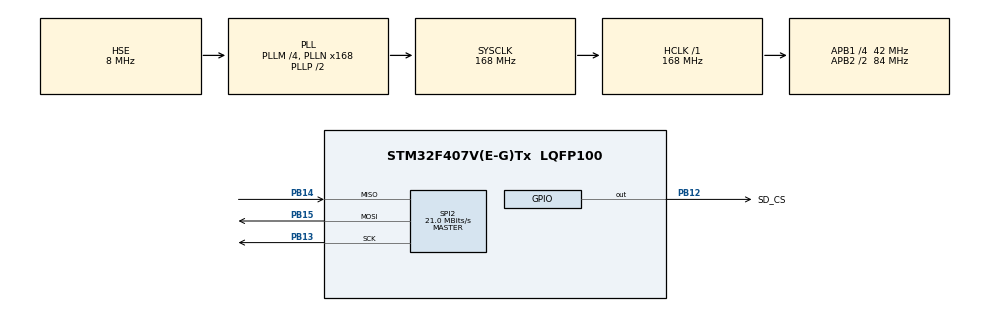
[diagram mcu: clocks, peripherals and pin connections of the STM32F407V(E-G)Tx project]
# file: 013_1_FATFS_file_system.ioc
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Mcu.Family=STM32F4
Mcu.Name=STM32F407V(E-G)Tx
Mcu.Package=LQFP100
NVIC.PriorityGroup=NVIC_PRIORITYGROUP_4
PB12.GPIO_Label=SD_CS
PB12.Signal=GPIO_Output
PB13.Mode=Full_Duplex_Master
PB13.Signal=SPI2_SCK
PB14.Mode=Full_Duplex_Master
PB14.Signal=SPI2_MISO
PB15.Mode=Full_Duplex_Master
PB15.Signal=SPI2_MOSI
PH0-OSC_IN.Mode=HSE-External-Oscillator
PH0-OSC_IN.Signal=RCC_OSC_IN
PH1-OSC_OUT.Mode=HSE-External-Oscillator
PH1-OSC_OUT.Signal=RCC_OSC_OUT
ProjectManager.HeapSize=0x200
ProjectManager.StackSize=0x400
ProjectManager.TargetToolchain=STM32CubeIDE
RCC.48MHZClocksFreq_Value=84000000
RCC.AHBFreq_Value=168000000
RCC.APB1CLKDivider=RCC_HCLK_DIV4
RCC.APB1Freq_Value=42000000
RCC.APB1TimFreq_Value=84000000
RCC.APB2CLKDivider=RCC_HCLK_DIV2
RCC.APB2Freq_Value=84000000
RCC.APB2TimFreq_Value=168000000
RCC.CortexFreq_Value=168000000
RCC.HCLKFreq_Value=168000000
RCC.HSE_VALUE=8000000
RCC.HSI_VALUE=16000000
RCC.LSE_VALUE=32768
RCC.PLLM=4
RCC.PLLN=168
RCC.PLLSourceVirtual=RCC_PLLSOURCE_HSE
RCC.SYSCLKFreq_VALUE=168000000
RCC.SYSCLKSource=RCC_SYSCLKSOURCE_PLLCLK
RCC.VCOOutputFreq_Value=336000000
SPI2.CalculateBaudRate=21.0 MBits/s
SPI2.Direction=SPI_DIRECTION_2LINES
SPI2.Mode=SPI_MODE_MASTER
SPI2.VirtualType=VM_MASTER
VP_FATFS_VS_Generic.Mode=User_defined
board=custom

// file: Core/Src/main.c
/* USER CODE BEGIN Header */
/**
  ******************************************************************************
  * @file           : main.c
  * @brief          : Main program body
  ******************************************************************************
  * @attention
  *
  * Copyright (c) 2024 STMicroelectronics.
  * All rights reserved.
  *
  * This software is licensed under terms that can be found in the LICENSE file
  * in the root directory of this software component.
  * If no LICENSE file comes with this software, it is provided AS-IS.
  *
  ******************************************************************************
  */
/* USER CODE END Header */
#include "main.h"
#include "fatfs.h"

SPI_HandleTypeDef hspi2;

void SystemClock_Config(void);
static void MX_GPIO_Init(void);
static void MX_SPI2_Init(void);

/* USER CODE BEGIN 0 */

//Değişkenler ilk olarak main de tanımlandı fakat yazma işlemi hata verdiğinden sonradan global olarak tanımlandı.

    FATFS     fs;
	FRESULT   res;

	FIL 	  file;
	char buffer[100];
	char brw;

	char write_buffer[50] = {"STM32 FatsFS yazma denemesi."};
/* USER CODE END 0 */

int main(void)
{

  /* MCU Configuration--------------------------------------------------------*/

  /* Reset of all peripherals, Initializes the Flash interface and the Systick. */
  HAL_Init();

  /* Configure the system clock */
  SystemClock_Config();

  /* Initialize all configured peripherals */
  MX_GPIO_Init();
  MX_SPI2_Init();
  MX_FATFS_Init();
  /* USER CODE BEGIN 2 */

  //DOSYA OKUMA

  res = f_mount(&fs, "", 0); //sd kartın mount(aktif) edilmesini sağlar.
  if(res != FR_OK)
  {
	 while(1); //mount edilmezse kilitle.
  }

  res = f_open(&file, "test.txt", FA_READ);
  if(res == FR_OK) //Dosya içeriğinin okunması.
  {
	  res = f_read(&file, buffer, sizeof(buffer), brw); //br değeriyle okunan karakter sayısı geri döndürülür.

	  if(res == FR_OK) __NOP(); //birşey yapma.
	  else __NOP();

  }

  fclose(&file);

  //DOSYAYA YAZMA

  res = f_open(&file, "test2.txt", FA_CREATE_ALWAYS | FA_WRITE); //Dosya yoksa oluştur.
    if(res == FR_OK)
    {
  	  res = f_write(&file, write_buffer, sizeof(write_buffer), brw);

  	  if(res == FR_OK) __NOP(); //birşey yapma.
  	  else __NOP();

    }
    fclose(&file);

  /* USER CODE END 2 */

  /* Infinite loop */
  while (1)
  {

  }
}

void SystemClock_Config(void)
{
  RCC_OscInitTypeDef RCC_OscInitStruct = {0};
  RCC_ClkInitTypeDef RCC_ClkInitStruct = {0};

  /** Configure the main internal regulator output voltage
  */
  __HAL_RCC_PWR_CLK_ENABLE();
  __HAL_PWR_VOLTAGESCALING_CONFIG(PWR_REGULATOR_VOLTAGE_SCALE1);

  /** Initializes the RCC Oscillators according to the specified parameters
  * in the RCC_OscInitTypeDef structure.
  */
  RCC_OscInitStruct.OscillatorType = RCC_OSCILLATORTYPE_HSE;
  RCC_OscInitStruct.HSEState = RCC_HSE_ON;
  RCC_OscInitStruct.PLL.PLLState = RCC_PLL_ON;
  RCC_OscInitStruct.PLL.PLLSource = RCC_PLLSOURCE_HSE;
  RCC_OscInitStruct.PLL.PLLM = 4;
  RCC_OscInitStruct.PLL.PLLN = 168;
  RCC_OscInitStruct.PLL.PLLP = RCC_PLLP_DIV2;
  RCC_OscInitStruct.PLL.PLLQ = 4;
  if (HAL_RCC_OscConfig(&RCC_OscInitStruct) != HAL_OK)
  {
    Error_Handler();
  }

  /** Initializes the CPU, AHB and APB buses clocks
  */
  RCC_ClkInitStruct.ClockType = RCC_CLOCKTYPE_HCLK|RCC_CLOCKTYPE_SYSCLK
                              |RCC_CLOCKTYPE_PCLK1|RCC_CLOCKTYPE_PCLK2;
  RCC_ClkInitStruct.SYSCLKSource = RCC_SYSCLKSOURCE_PLLCLK;
  RCC_ClkInitStruct.AHBCLKDivider = RCC_SYSCLK_DIV1;
  RCC_ClkInitStruct.APB1CLKDivider = RCC_HCLK_DIV4;
  RCC_ClkInitStruct.APB2CLKDivider = RCC_HCLK_DIV2;

  if (HAL_RCC_ClockConfig(&RCC_ClkInitStruct, FLASH_LATENCY_5) != HAL_OK)
  {
    Error_Handler();
  }
}

static void MX_SPI2_Init(void)
{

  /* SPI2 parameter configuration*/
  hspi2.Instance = SPI2;
  hspi2.Init.Mode = SPI_MODE_MASTER;
  hspi2.Init.Direction = SPI_DIRECTION_2LINES;
  hspi2.Init.DataSize = SPI_DATASIZE_8BIT;
  hspi2.Init.CLKPolarity = SPI_POLARITY_LOW;
  hspi2.Init.CLKPhase = SPI_PHASE_1EDGE;
  hspi2.Init.NSS = SPI_NSS_SOFT;
  hspi2.Init.BaudRatePrescaler = SPI_BAUDRATEPRESCALER_2;
  hspi2.Init.FirstBit = SPI_FIRSTBIT_MSB;
  hspi2.Init.TIMode = SPI_TIMODE_DISABLE;
  hspi2.Init.CRCCalculation = SPI_CRCCALCULATION_DISABLE;
  hspi2.Init.CRCPolynomial = 10;
  if (HAL_SPI_Init(&hspi2) != HAL_OK)
  {
    Error_Handler();
  }

}

static void MX_GPIO_Init(void)
{
  GPIO_InitTypeDef GPIO_InitStruct = {0};

  /* GPIO Ports Clock Enable */
  __HAL_RCC_GPIOH_CLK_ENABLE();
  __HAL_RCC_GPIOB_CLK_ENABLE();

  /*Configure GPIO pin Output Level */
  HAL_GPIO_WritePin(SD_CS_GPIO_Port, SD_CS_Pin, GPIO_PIN_RESET);

  /*Configure GPIO pin : SD_CS_Pin */
  GPIO_InitStruct.Pin = SD_CS_Pin;
  GPIO_InitStruct.Mode = GPIO_MODE_OUTPUT_PP;
  GPIO_InitStruct.Pull = GPIO_NOPULL;
  GPIO_InitStruct.Speed = GPIO_SPEED_FREQ_LOW;
  HAL_GPIO_Init(SD_CS_GPIO_Port, &GPIO_InitStruct);

}

void Error_Handler(void)
{
  __disable_irq();
  while (1)
  {
  }
}
